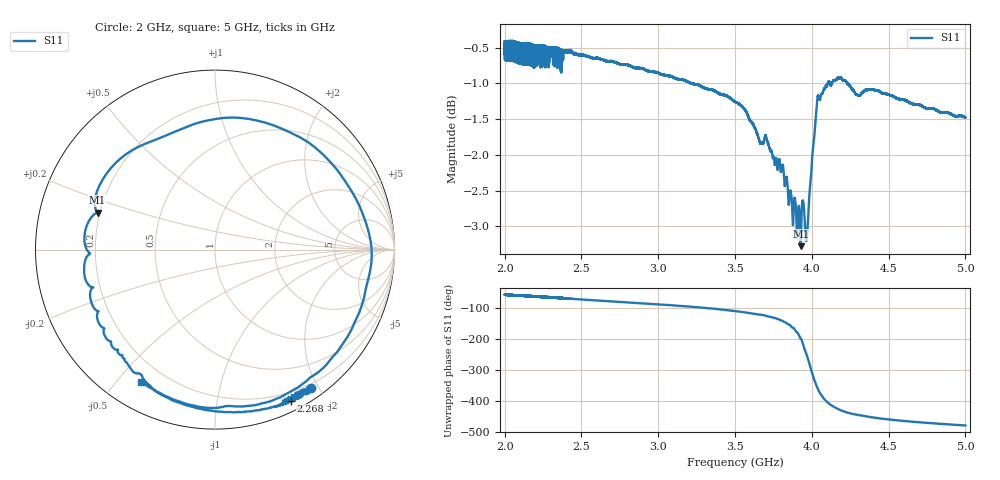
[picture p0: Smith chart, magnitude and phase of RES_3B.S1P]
!Agilent Technologies,E5071C,MY46214220,A.11.31
!Date: Fri Sep 22 10:26:38 2017
!Data & Calibration Information:
!Freq	S11:SOLT1(ON)
!PortZ  Port1:50+j0
!Above PortZ is port z conversion or system Z0 setting when saving the data.
!When reading, reference impedance value at option line is always used.
# Hz S dB R 50
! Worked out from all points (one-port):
!   20000 points, 2 GHz to 5 GHz, reference 50 ohm
!   lowest |S11| = -3.3 dB at 3.928 GHz (marker M1), VSWR 5.37, Z = 9.53 + j7.44 ohm
!   |S11| at or under -10 dB: nowhere
!   S11 on the Smith chart (normalised r, x): 2 GHz: 0.15, -1.90; 2.268 GHz: 0.10, -1.62; 5 GHz: 0.11, -0.58
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2e9  -0.57 -55.3
2.268213e9  -0.49 -63.3
2.375019e9  -0.56 -67.4
2.750038e9  -0.73 -78.8
3.125056e9  -0.94 -91.4
3.500075e9  -1.26 -108.5
3.695385e9  -1.73 -123.0
3.774589e9  -2.17 -134.1
3.823641e9  -2.42 -144.5
3.875094e9  -2.92 -162.7
3.899545e9  -2.89 -176.7
3.927896e9  -3.28 162.5
3.941397e9  -2.64 146.4
3.951898e9  -2.84 130.0
3.969598e9  -3.13 105.2
3.985199e9  -2.53 79.2
3.9975e9  -2.22 57.8
4.012201e9  -1.82 34.0
4.024051e9  -1.53 17.7
4.035902e9  -1.23 3.1
4.052553e9  -1.23 -13.9
4.068903e9  -1.14 -26.1
4.109255e9  -0.98 -47.5
4.173909e9  -0.92 -66.8
4.250113e9  -1.04 -80.1
4.442872e9  -1.11 -96.4
4.625131e9  -1.25 -105.9
5e9  -1.48 -119.3
